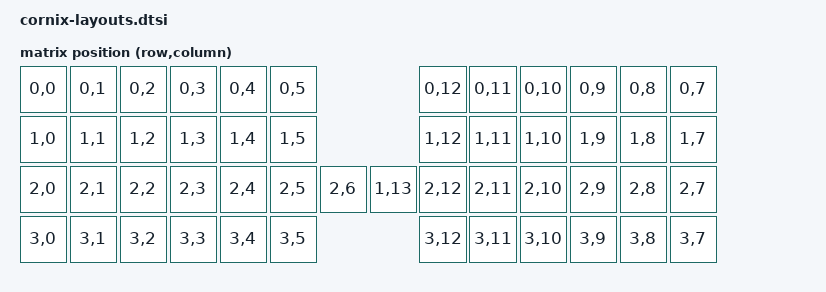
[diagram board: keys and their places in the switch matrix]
#include <physical_layouts.dtsi>
#include <dt-bindings/zmk/matrix_transform.h>

/ {
    default_transform: keymap_transform_50 {
        compatible = "zmk,matrix-transform";
        columns = <14>;
        rows = <4>;
// | SW1  | SW2  | SW3  | SW4  | SW5  | SW6  |             | SW6  | SW5  | SW4  | SW3  | SW2  | SW1  |
// | SW7  | SW8  | SW9  | SW10 | SW11 | SW12 |             | SW12 | SW11 | SW10 | SW9  | SW8  | SW7  |
// | SW13 | SW14 | SW15 | SW16 | SW17 | SW18 | SW19 | SW19 | SW18 | SW17 | SW16 | SW15 | SW14 | SW13 |
// | SW19 | SW20 | SW21 | SW22 | SW23 | SW24 |             | SW24 | SW23 | SW22 | SW21 | SW20 | SW19 |
        map = <
            RC(0,0) RC(0,1) RC(0,2) RC(0,3) RC(0,4) RC(0,5)                   RC(0,12)  RC(0,11) RC(0,10) RC(0,9) RC(0,8) RC(0,7)
            RC(1,0) RC(1,1) RC(1,2) RC(1,3) RC(1,4) RC(1,5)                   RC(1,12)  RC(1,11) RC(1,10) RC(1,9) RC(1,8) RC(1,7)
            RC(2,0) RC(2,1) RC(2,2) RC(2,3) RC(2,4) RC(2,5) RC(2, 6) RC(1,13) RC(2,12)  RC(2,11) RC(2,10) RC(2,9) RC(2,8) RC(2,7)
            RC(3,0) RC(3,1) RC(3,2) RC(3,3) RC(3,4) RC(3,5)                   RC(3,12)  RC(3,11) RC(3,10) RC(3,9) RC(3,8) RC(3,7)
        >;
    };

    layout_50: layout_50 {
        compatible = "zmk,physical-layout";
        display-name = "LAYOUT_50";

        transform = <&default_transform>;

        keys =
#include "cornix-layout-50-keys.dtsi"
            ;
    };

    position_map {
        compatible = "zmk,physical-layout-position-map";

        layout_50 {
            physical-layout = <&layout_50>;
            positions
                = < 0  1  2  3  4  5        6  7  8  9 10 11>
                , <12 13 14 15 16 17       18 19 20 21 22 23>
                , <24 25 26 27 28 29 30 31 32 33 34 35 36 37>
                , <38 39 40 41 42 43       44 45 46 47 48 49>
                ;
        };

    };
};
